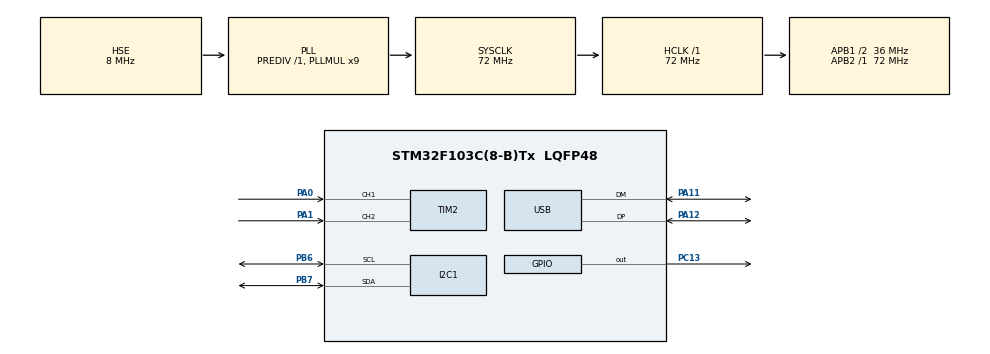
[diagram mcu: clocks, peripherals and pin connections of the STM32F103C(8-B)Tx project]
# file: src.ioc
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I2C1.I2C_Mode=I2C_Fast
Mcu.Family=STM32F1
Mcu.Name=STM32F103C(8-B)Tx
Mcu.Package=LQFP48
NVIC.PriorityGroup=NVIC_PRIORITYGROUP_4
NVIC.TIM2_IRQn=true\:0\:0\:false\:false\:true\:true\:true\:true
NVIC.USB_LP_CAN1_RX0_IRQn=true\:0\:0\:false\:false\:true\:false\:true\:true
PA0-WKUP.Signal=S_TIM2_CH1_ETR
PA1.Signal=S_TIM2_CH2
PA11.Mode=Device
PA11.Signal=USB_DM
PA12.Mode=Device
PA12.Signal=USB_DP
PA13.Mode=Serial_Wire
PA13.Signal=SYS_JTMS-SWDIO
PA14.Mode=Serial_Wire
PA14.Signal=SYS_JTCK-SWCLK
PB6.Mode=I2C
PB6.Signal=I2C1_SCL
PB7.Mode=I2C
PB7.Signal=I2C1_SDA
PC13-TAMPER-RTC.Signal=GPIO_Output
PD0-OSC_IN.Mode=HSE-External-Oscillator
PD0-OSC_IN.Signal=RCC_OSC_IN
PD1-OSC_OUT.Mode=HSE-External-Oscillator
PD1-OSC_OUT.Signal=RCC_OSC_OUT
ProjectManager.HeapSize=0x200
ProjectManager.StackSize=0x400
ProjectManager.TargetToolchain=EWARM V8.32
RCC.AHBFreq_Value=72000000
RCC.APB1CLKDivider=RCC_HCLK_DIV2
RCC.APB1Freq_Value=36000000
RCC.APB1TimFreq_Value=72000000
RCC.APB2Freq_Value=72000000
RCC.APB2TimFreq_Value=72000000
RCC.HCLKFreq_Value=72000000
RCC.PLLMUL=RCC_PLL_MUL9
RCC.PLLSourceVirtual=RCC_PLLSOURCE_HSE
RCC.SYSCLKFreq_VALUE=72000000
RCC.SYSCLKSource=RCC_SYSCLKSOURCE_PLLCLK
RCC.USBFreq_Value=48000000
RCC.USBPrescaler=RCC_USBCLKSOURCE_PLL_DIV1_5
SH.S_TIM2_CH1_ETR.0=TIM2_CH1,Encoder_Interface
SH.S_TIM2_CH2.0=TIM2_CH2,Encoder_Interface
TIM2.AutoReloadPreload=TIM_AUTORELOAD_PRELOAD_DISABLE
TIM2.EncoderMode=TIM_ENCODERMODE_TI12
TIM2.IC1Filter=10
TIM2.IC1Polarity=TIM_ICPOLARITY_FALLING
TIM2.IC2Filter=10
TIM2.IC2Polarity=TIM_ICPOLARITY_FALLING
USB_DEVICE.CLASS_NAME_FS=CDC
USB_DEVICE.VirtualMode=Cdc
USB_DEVICE.VirtualModeFS=Cdc_FS
VP_USB_DEVICE_VS_USB_DEVICE_CDC_FS.Mode=CDC_FS
board=custom

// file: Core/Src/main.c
/* USER CODE BEGIN Header */
/**
 ******************************************************************************
 * @file           : main.c
 * @brief          : Main program body
 ******************************************************************************
 * @attention
 *
 * Copyright (c) 2025 STMicroelectronics.
 * All rights reserved.
 *
 * This software is licensed under terms that can be found in the LICENSE file
 * in the root directory of this software component.
 * If no LICENSE file comes with this software, it is provided AS-IS.
 *
 ******************************************************************************
 */
/* USER CODE END Header */
#include "main.h"
#include "usb_device.h"

/* USER CODE BEGIN Includes */
#include "usbd_cdc_if.h"
#include "ssd1306.h"
#include "ssd1306_fonts.h"
#include "si5351.h"
#include "screen.h"
#include "state.h"
/* USER CODE END Includes */

I2C_HandleTypeDef hi2c1;

TIM_HandleTypeDef htim2;

void SystemClock_Config(void);
static void MX_GPIO_Init(void);
static void MX_I2C1_Init(void);
static void MX_TIM2_Init(void);

/* USER CODE BEGIN 0 */

uint32_t counter = 0;
int16_t count = 0;
int16_t position = 0;

void HAL_TIM_IC_CaptureCallback(TIM_HandleTypeDef *htim)
{
  counter = __HAL_TIM_GET_COUNTER(htim);
  if (counter % 4 == 0)
  {
    count = (int16_t)counter;
    position = count / 4;
    CDC_Transmit_FS((uint8_t *)&position, sizeof(position));
  }
}

/* USER CODE END 0 */

int main(void)
{
  /* USER CODE BEGIN 1 */
  state_s state;
  /* USER CODE END 1 */

  /* MCU Configuration--------------------------------------------------------*/

  /* Reset of all peripherals, Initializes the Flash interface and the Systick. */
  HAL_Init();

  /* Configure the system clock */
  SystemClock_Config();

  /* Initialize all configured peripherals */
  MX_GPIO_Init();
  MX_USB_DEVICE_Init();
  MX_I2C1_Init();
  MX_TIM2_Init();
  /* USER CODE BEGIN 2 */

  HAL_TIM_Encoder_Start_IT(&htim2, TIM_CHANNEL_ALL);

  state_init(&state);
  screen_init();

  HAL_Delay(3000);
  CDC_Transmit_FS("Start", 5);

  // si5351_Init(correction);

  // 28 MHz @ ~7 dBm
  // si5351_SetupCLK0(100000, SI5351_DRIVE_STRENGTH_4MA);

  // 144 MHz @ ~7 dBm
  // si5351_SetupCLK2(4000000, SI5351_DRIVE_STRENGTH_4MA);

  // Enable CLK0 and CLK2
  // si5351_EnableOutputs((1<<0) | (1<<2));

  // const int32_t correction = 978;
  // si5351_Init(correction);

  // si5351PLLConfig_t pll_conf;
  // si5351OutputConfig_t out_conf;
  // int32_t Fclk = 3700000; // 2 MHz

  // si5351_CalcIQ(Fclk, &pll_conf, &out_conf);

  /*
   * `phaseOffset` is a 7bit value, calculated from Fpll, Fclk and desired phase shift.
   * To get N° phase shift the value should be round( (N/360)*(4*Fpll/Fclk) )
   * Two channels should use the same PLL to make it work. There are other restrictions.
   * Please see AN619 for more details.
   *
   * si5351_CalcIQ() chooses PLL and MS parameters so that:
   *   Fclk in [1.4..100] MHz
   *   out_conf.div in [9..127]
   *   out_conf.num = 0
   *   out_conf.denum = 1
   *   Fpll = out_conf.div * Fclk.
   * This automatically gives 90° phase shift between two channels if you pass
   * 0 and out_conf.div as a phaseOffset for these channels.
   */
  // uint8_t phaseOffset = (uint8_t)out_conf.div;
  // si5351_SetupOutput(0, SI5351_PLL_A, SI5351_DRIVE_STRENGTH_4MA, &out_conf, 0);
  // si5351_SetupOutput(2, SI5351_PLL_A, SI5351_DRIVE_STRENGTH_4MA, &out_conf, phaseOffset);

  /*
   * The order is important! Setup the channels first, then setup the PLL.
   * Alternatively you could reset the PLL after setting up PLL and channels.
   * However since _SetupPLL() always resets the PLL this would only cause
   * sending extra I2C commands.
   */
  // si5351_SetupPLL(SI5351_PLL_A, &pll_conf);
  // si5351_EnableOutputs((1<<0) | (1<<2));

  /* USER CODE END 2 */

  /* Infinite loop */
  /* USER CODE BEGIN WHILE */
  while (1)
  {
    uint8_t buf[] = "Hello World\n";
    CDC_Transmit_FS(buf, sizeof(buf) - 1);

    HAL_Delay(500);
    HAL_GPIO_TogglePin(GPIOC, GPIO_PIN_13);
    screen_update(&state);

    /* USER CODE END WHILE */

  }
}

void SystemClock_Config(void)
{
  RCC_OscInitTypeDef RCC_OscInitStruct = {0};
  RCC_ClkInitTypeDef RCC_ClkInitStruct = {0};
  RCC_PeriphCLKInitTypeDef PeriphClkInit = {0};

  /** Initializes the RCC Oscillators according to the specified parameters
  * in the RCC_OscInitTypeDef structure.
  */
  RCC_OscInitStruct.OscillatorType = RCC_OSCILLATORTYPE_HSE;
  RCC_OscInitStruct.HSEState = RCC_HSE_ON;
  RCC_OscInitStruct.HSEPredivValue = RCC_HSE_PREDIV_DIV1;
  RCC_OscInitStruct.HSIState = RCC_HSI_ON;
  RCC_OscInitStruct.PLL.PLLState = RCC_PLL_ON;
  RCC_OscInitStruct.PLL.PLLSource = RCC_PLLSOURCE_HSE;
  RCC_OscInitStruct.PLL.PLLMUL = RCC_PLL_MUL9;
  if (HAL_RCC_OscConfig(&RCC_OscInitStruct) != HAL_OK)
  {
    Error_Handler();
  }

  /** Initializes the CPU, AHB and APB buses clocks
  */
  RCC_ClkInitStruct.ClockType = RCC_CLOCKTYPE_HCLK|RCC_CLOCKTYPE_SYSCLK
                              |RCC_CLOCKTYPE_PCLK1|RCC_CLOCKTYPE_PCLK2;
  RCC_ClkInitStruct.SYSCLKSource = RCC_SYSCLKSOURCE_PLLCLK;
  RCC_ClkInitStruct.AHBCLKDivider = RCC_SYSCLK_DIV1;
  RCC_ClkInitStruct.APB1CLKDivider = RCC_HCLK_DIV2;
  RCC_ClkInitStruct.APB2CLKDivider = RCC_HCLK_DIV1;

  if (HAL_RCC_ClockConfig(&RCC_ClkInitStruct, FLASH_LATENCY_2) != HAL_OK)
  {
    Error_Handler();
  }
  PeriphClkInit.PeriphClockSelection = RCC_PERIPHCLK_USB;
  PeriphClkInit.UsbClockSelection = RCC_USBCLKSOURCE_PLL_DIV1_5;
  if (HAL_RCCEx_PeriphCLKConfig(&PeriphClkInit) != HAL_OK)
  {
    Error_Handler();
  }
}

static void MX_I2C1_Init(void)
{

  hi2c1.Instance = I2C1;
  hi2c1.Init.ClockSpeed = 400000;
  hi2c1.Init.DutyCycle = I2C_DUTYCYCLE_2;
  hi2c1.Init.OwnAddress1 = 0;
  hi2c1.Init.AddressingMode = I2C_ADDRESSINGMODE_7BIT;
  hi2c1.Init.DualAddressMode = I2C_DUALADDRESS_DISABLE;
  hi2c1.Init.OwnAddress2 = 0;
  hi2c1.Init.GeneralCallMode = I2C_GENERALCALL_DISABLE;
  hi2c1.Init.NoStretchMode = I2C_NOSTRETCH_DISABLE;
  if (HAL_I2C_Init(&hi2c1) != HAL_OK)
  {
    Error_Handler();
  }

}

static void MX_TIM2_Init(void)
{

  TIM_Encoder_InitTypeDef sConfig = {0};
  TIM_MasterConfigTypeDef sMasterConfig = {0};

  htim2.Instance = TIM2;
  htim2.Init.Prescaler = 0;
  htim2.Init.CounterMode = TIM_COUNTERMODE_UP;
  htim2.Init.Period = 65535;
  htim2.Init.ClockDivision = TIM_CLOCKDIVISION_DIV1;
  htim2.Init.AutoReloadPreload = TIM_AUTORELOAD_PRELOAD_DISABLE;
  sConfig.EncoderMode = TIM_ENCODERMODE_TI12;
  sConfig.IC1Polarity = TIM_ICPOLARITY_FALLING;
  sConfig.IC1Selection = TIM_ICSELECTION_DIRECTTI;
  sConfig.IC1Prescaler = TIM_ICPSC_DIV1;
  sConfig.IC1Filter = 10;
  sConfig.IC2Polarity = TIM_ICPOLARITY_FALLING;
  sConfig.IC2Selection = TIM_ICSELECTION_DIRECTTI;
  sConfig.IC2Prescaler = TIM_ICPSC_DIV1;
  sConfig.IC2Filter = 10;
  if (HAL_TIM_Encoder_Init(&htim2, &sConfig) != HAL_OK)
  {
    Error_Handler();
  }
  sMasterConfig.MasterOutputTrigger = TIM_TRGO_RESET;
  sMasterConfig.MasterSlaveMode = TIM_MASTERSLAVEMODE_DISABLE;
  if (HAL_TIMEx_MasterConfigSynchronization(&htim2, &sMasterConfig) != HAL_OK)
  {
    Error_Handler();
  }

}

static void MX_GPIO_Init(void)
{
  GPIO_InitTypeDef GPIO_InitStruct = {0};

  /* GPIO Ports Clock Enable */
  __HAL_RCC_GPIOC_CLK_ENABLE();
  __HAL_RCC_GPIOD_CLK_ENABLE();
  __HAL_RCC_GPIOA_CLK_ENABLE();
  __HAL_RCC_GPIOB_CLK_ENABLE();

  /*Configure GPIO pin Output Level */
  HAL_GPIO_WritePin(GPIOC, GPIO_PIN_13, GPIO_PIN_RESET);

  /*Configure GPIO pin : PC13 */
  GPIO_InitStruct.Pin = GPIO_PIN_13;
  GPIO_InitStruct.Mode = GPIO_MODE_OUTPUT_PP;
  GPIO_InitStruct.Pull = GPIO_NOPULL;
  GPIO_InitStruct.Speed = GPIO_SPEED_FREQ_LOW;
  HAL_GPIO_Init(GPIOC, &GPIO_InitStruct);

}

void Error_Handler(void)
{
  __disable_irq();
  while (1)
  {
  }
}
